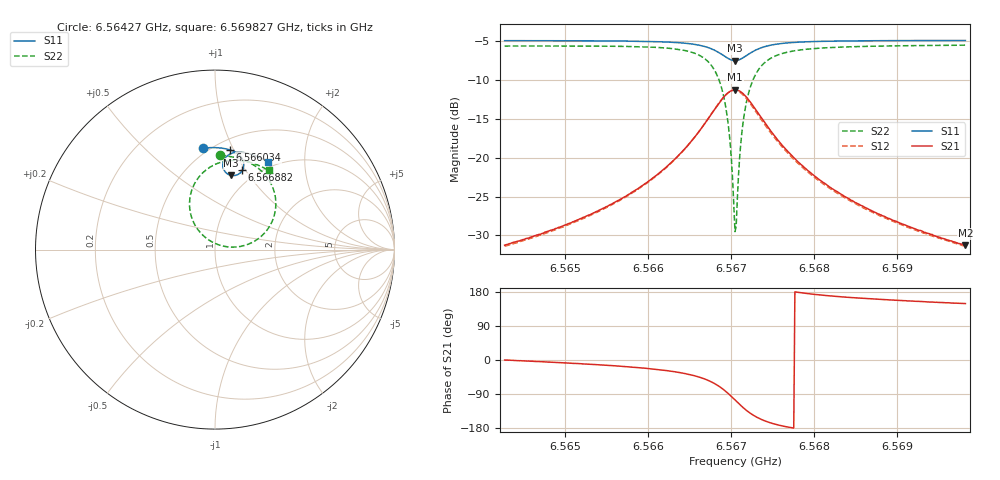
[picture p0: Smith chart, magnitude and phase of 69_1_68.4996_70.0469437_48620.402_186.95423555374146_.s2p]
#  HZ  S  RI  R  50.00
! Rohde & Schwarz Vector Network Analyzer
! Rohde-Schwarz,ZNB20-2Port,1311601062101988,3.16
! Created: UTC 3/20/2024, 5:06:49 PM
! freq[Hz]  re:S11  im:S11  re:S21  im:S21  re:S12  im:S12  re:S22  im:S22
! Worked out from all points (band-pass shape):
!   401 points, 6.56427 GHz to 6.569827 GHz, reference 50 ohm
!   highest |S21| = -11.23 dB at 6.567049 GHz (marker M1); lowest = -31.3 dB at 6.569827 GHz (marker M2)
!   |S21| within 3 dB of the highest: 6.566772 GHz to 6.567327 GHz (555.1 kHz wide, 0.00845 % of centre)
!   lowest |S11| = -7.5 dB at 6.567049 GHz (marker M3), VSWR 2.47, Z = 41 + j41.3 ohm
!   |S11| at or under -10 dB: nowhere
!   |S22| runs from -29.5 to -5.5 dB; largest |S21 - S12| = 0.013
!   S11 on the Smith chart (normalised r, x): 6.56427 GHz: 0.46, +0.77; 6.566034 GHz: 0.60, +0.97; 6.566882 GHz: 0.86, +0.97; 6.569827 GHz: 0.92, +1.33
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6.56427e9  -0.0695 0.5648  0.0274 -3.21e-05  0.027 -0.000565  0.0298 0.5245
6.5652009e9  0.00627 0.568  0.0403 -0.00707  0.0396 -0.00775  0.1169 0.5121
6.5660345e9  0.0832 0.5558  0.0668 -0.0285  0.0657 -0.0294  0.2222 0.4668
6.5661317e9  0.0933 0.5523  0.072 -0.0342  0.0707 -0.0352  0.2383 0.4553
6.5664235e9  0.1264 0.5347  0.0915 -0.0637  0.09 -0.0649  0.2939 0.3973
6.5666458e9  0.152 0.5055  0.1058 -0.1142  0.1036 -0.1164  0.3349 0.2997
6.5667847e9  0.1604 0.4723  0.0993 -0.1724  0.0949 -0.1753  0.3299 0.1891
6.566882e9  0.1521 0.4416  0.0674 -0.2252  0.0602 -0.2281  0.2737 0.0896
6.5669654e9  0.1274 0.4183  0.0084 -0.2627  -0.00209 -0.2627  0.1655 0.0234
6.5669931e9  0.1156 0.4139  -0.0177 -0.2684  -0.0289 -0.2668  0.1185 0.0146
6.5670348e9  0.0958 0.4124  -0.0595 -0.2676  -0.0707 -0.263  0.0444 0.0198
6.5670487e9  0.0894 0.4135  -0.0734 -0.2645  -0.0844 -0.2589  0.0202 0.0267
6.5670626e9  0.083 0.4152  -0.0869 -0.2601  -0.0975 -0.2535  -0.00308 0.036
6.5670765e9  0.0769 0.4177  -0.0997 -0.2545  -0.1098 -0.2469  -0.0251 0.0476
6.5671182e9  0.0609 0.4288  -0.1335 -0.2308  -0.1414 -0.221  -0.0806 0.0935
6.5671599e9  0.05 0.4434  -0.1577 -0.2006  -0.163 -0.1901  -0.118 0.1491
6.5672154e9  0.0435 0.4648  -0.1745 -0.1585  -0.1765 -0.148  -0.1403 0.2247
6.5672849e9  0.0457 0.4886  -0.1771 -0.1119  -0.1764 -0.1029  -0.1365 0.306
6.567535e9  0.0841 0.5323  -0.1342 -0.0247  -0.1314 -0.0209  -0.0392 0.4517
6.5679796e9  0.1448 0.5424  -0.0781 0.00852  -0.0763 0.00959  0.0895 0.4972
6.5689104e9  0.2303 0.5206  -0.0378 0.0148  -0.0369 0.0151  0.2193 0.4784
6.5698274e9  0.2974 0.4873  -0.0234 0.0141  -0.0229 0.0142  0.2981 0.4411
